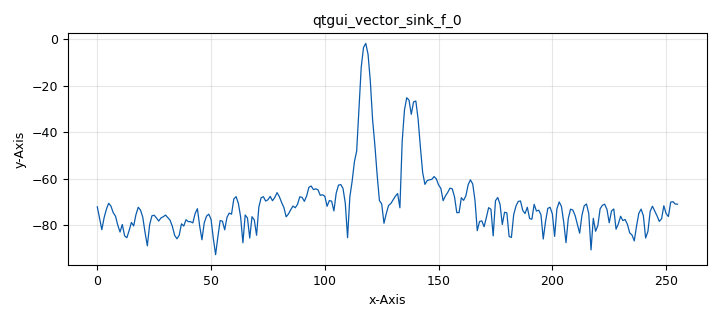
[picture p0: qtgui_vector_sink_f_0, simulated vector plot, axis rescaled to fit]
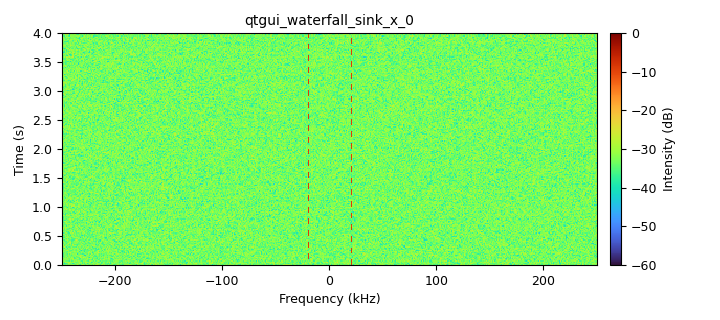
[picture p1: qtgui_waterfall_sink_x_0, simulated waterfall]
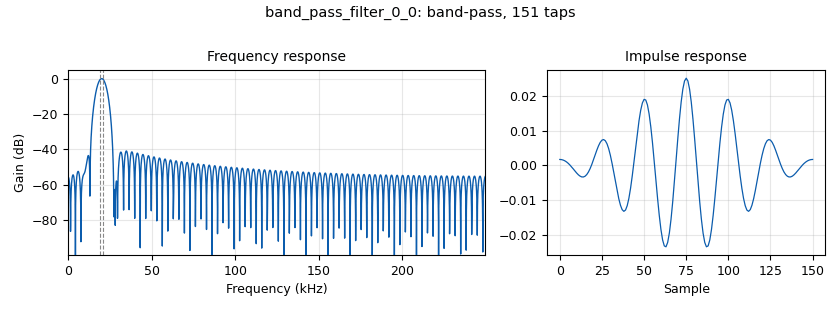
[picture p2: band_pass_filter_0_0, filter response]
options:
  parameters:
    author: sennels
    generate_options: qt_gui
    id: Transfrans
    output_language: python
    title: Not titled yet
  states: {}

blocks:
- name: Base_samp_rate
  id: variable
  parameters:
    value: Symbol_rate*samples_pr_sym
  states: {}
- name: PI
  id: variable
  parameters:
    value: '3.14159265358979323'
  states: {}
- name: Symbol_rate
  id: variable
  parameters:
    value: '10'
  states: {}
- name: samp_rate
  id: variable
  parameters:
    value: '500000'
  states: {}
- name: samples_pr_sym
  id: variable
  parameters:
    value: '5'
  states: {}
- name: sep_freq
  id: variable
  parameters:
    value: '20000'
  states: {}
- name: band_pass_filter_0
  id: band_pass_filter
  parameters:
    decim: '1'
    gain: '1'
    high_cutoff_freq: sep_freq+1000
    low_cutoff_freq: sep_freq-1000
    samp_rate: samp_rate
    type: fir_filter_ccf
    width: '8000'
    win: window.WIN_HAMMING
  states: {state: disabled}
- name: band_pass_filter_0_0
  id: band_pass_filter
  parameters:
    decim: '1'
    gain: '1'
    high_cutoff_freq: sep_freq+1000
    low_cutoff_freq: sep_freq-1000
    samp_rate: samp_rate
    type: fir_filter_ccf
    width: '8000'
    win: window.WIN_HAMMING
  states: {}
- name: band_pass_filter_0_0_0
  id: band_pass_filter
  parameters:
    decim: '1'
    gain: '1'
    high_cutoff_freq: sep_freq+1000
    low_cutoff_freq: sep_freq-1000
    samp_rate: samp_rate
    type: fir_filter_ccf
    width: '8000'
    win: window.WIN_HAMMING
  states: {}
- name: blocks_multiply_const_vxx_0
  id: blocks_multiply_const_vxx
  parameters:
    const: sep_freq
    type: float
  states: {state: disabled}
- name: blocks_multiply_const_vxx_0_0
  id: blocks_multiply_const_vxx
  parameters:
    const: sep_freq
    type: float
  states: {}
- name: blocks_repeat_0
  id: blocks_repeat
  parameters:
    interp: int((samp_rate)/(Symbol_rate))
    type: float
  states: {}
- name: blocks_throttle2_0
  id: blocks_throttle2
  parameters:
    limit: items
    samples_per_second: samp_rate
    type: float
  states: {}
- name: blocks_vco_c_0
  id: blocks_vco_c
  parameters:
    amplitude: '1'
    samp_rate: samp_rate
    sensitivity: 2*PI
  states: {state: disabled}
- name: blocks_vco_c_0_0
  id: blocks_vco_c
  parameters:
    amplitude: '1'
    samp_rate: samp_rate
    sensitivity: 2*PI
  states: {}
- name: blocks_vector_source_x_0
  id: blocks_vector_source_x
  parameters:
    repeat: 'True'
    type: float
    vector: (1, -1, 1, -1, 1, -1, 1,-1)
  states: {}
- name: blocks_vector_to_stream_0
  id: blocks_vector_to_stream
  parameters:
    num_items: '256'
    type: float
  states: {}
- name: channels_channel_model_0
  id: channels_channel_model
  parameters:
    epsilon: '1.0'
    freq_offset: '0.0'
    noise_voltage: '1'
    seed: '0'
    taps: '1.0'
  states: {state: disabled}
- name: channels_channel_model_0_0
  id: channels_channel_model
  parameters:
    epsilon: '1.0'
    freq_offset: '0.0'
    noise_voltage: '2'
    seed: '0'
    taps: '1.0'
  states: {}
- name: logpwrfft_x_0
  id: logpwrfft_x
  parameters:
    average: 'True'
    avg_alpha: '1'
    fft_size: '256'
    frame_rate: Base_samp_rate
    ref_scale: '2'
    sample_rate: samp_rate
    shift: 'True'
    type: complex
  states: {state: disabled}
- name: logpwrfft_x_0_0
  id: logpwrfft_x
  parameters:
    average: 'True'
    avg_alpha: '1'
    fft_size: '256'
    frame_rate: Base_samp_rate
    ref_scale: '2'
    sample_rate: samp_rate
    shift: 'True'
    type: complex
  states: {}
- name: network_udp_sink_1
  id: network_udp_sink
  parameters:
    addr: 127.0.0.1
    header: '0'
    payloadsize: '1024'
    port: '5006'
    send_eof: 'False'
    type: float
  states: {}
- name: qtgui_freq_sink_x_0
  id: qtgui_freq_sink_x
  parameters:
    average: '0.2'
    bw: samp_rate
    fc: '0'
    fftsize: '4096'
    grid: 'True'
    type: complex
    wintype: window.WIN_BLACKMAN
  states: {state: disabled}
- name: qtgui_time_sink_x_0
  id: qtgui_time_sink_x
  parameters:
    grid: 'True'
    size: '5000'
    srate: samp_rate
    type: float
    ymax: '2'
    ymin: '-2'
  states: {state: disabled}
- name: qtgui_vector_sink_f_0
  id: qtgui_vector_sink_f
  parameters:
    vlen: '256'
    x_start: '0'
    x_step: '1.0'
    ymin: '-60'
  states: {}
- name: qtgui_waterfall_sink_x_0
  id: qtgui_waterfall_sink_x
  parameters:
    bw: samp_rate
    fc: '0'
    fftsize: '4096'
    grid: 'True'
    int_max: '0'
    int_min: '-60'
    type: complex
  states: {}

connections:
- [band_pass_filter_0, '0', logpwrfft_x_0, '0']
- [band_pass_filter_0_0, '0', logpwrfft_x_0_0, '0']
- [band_pass_filter_0_0_0, '0', channels_channel_model_0_0, '0']
- [blocks_multiply_const_vxx_0, '0', blocks_vco_c_0, '0']
- [blocks_multiply_const_vxx_0_0, '0', blocks_vco_c_0_0, '0']
- [blocks_repeat_0, '0', blocks_throttle2_0, '0']
- [blocks_throttle2_0, '0', blocks_multiply_const_vxx_0_0, '0']
- [blocks_vco_c_0, '0', channels_channel_model_0, '0']
- [blocks_vco_c_0_0, '0', band_pass_filter_0_0_0, '0']
- [blocks_vector_source_x_0, '0', blocks_repeat_0, '0']
- [blocks_vector_to_stream_0, '0', network_udp_sink_1, '0']
- [channels_channel_model_0, '0', band_pass_filter_0, '0']
- [channels_channel_model_0, '0', qtgui_freq_sink_x_0, '0']
- [channels_channel_model_0_0, '0', band_pass_filter_0_0, '0']
- [channels_channel_model_0_0, '0', qtgui_waterfall_sink_x_0, '0']
- [logpwrfft_x_0_0, '0', blocks_vector_to_stream_0, '0']
- [logpwrfft_x_0_0, '0', qtgui_vector_sink_f_0, '0']

metadata:
  file_format: 1
  grc_version: 3.10.9.2
